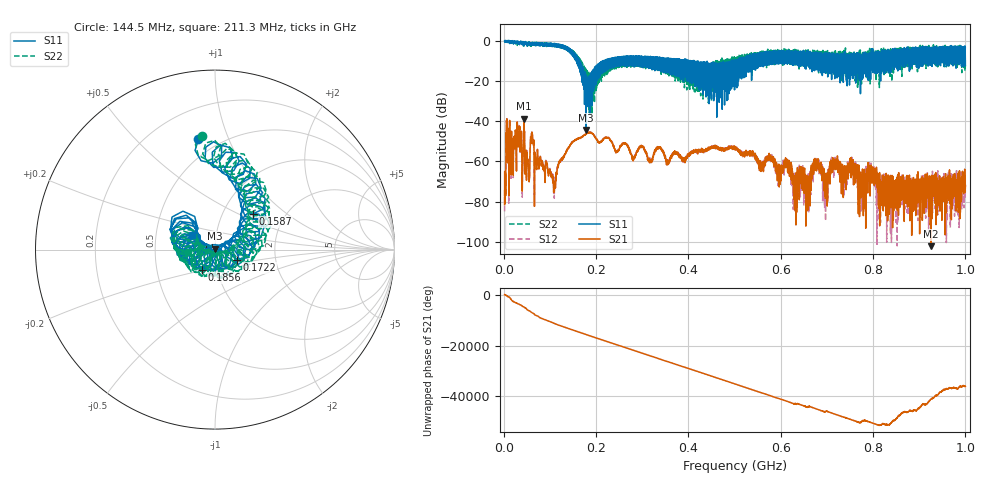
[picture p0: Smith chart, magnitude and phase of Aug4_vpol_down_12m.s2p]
!Keysight Technologies N9923A: A.12.45
!Date: Tuesday, 05 August 2025 20:34:01
!Timezone: (UTC+08:00) Kuala Lumpur, Singapore
!Model: N9923A
!Serial: MY61181427
!GPS Latitude:
!GPS Longitude:
!GPS TimeStamp: 0001-01-01 00:00:00Z
!GPS Seconds Since Last Read: 0
!CHECKSUM:2105733428
!Correction: S11(ON U)S21(ON U)S12(ON U)S22(ON U)
!S2P File: Measurements:S11,S21,S12,S22:
# Hz S DB R 50
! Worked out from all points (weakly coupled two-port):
!   4001 points, 2 MHz to 1 GHz, reference 50 ohm
!   highest |S21| = -38.69 dB at 43.92 MHz (marker M1); lowest = -102.2 dB at 925.6 MHz (marker M2)
!   lowest |S11| = -44.3 dB at 178.4 MHz (marker M3), VSWR 1.01, Z = 50 + j0.607 ohm
!   |S11| at or under -10 dB: 163 MHz to 215.5 MHz (52.57 MHz wide, 27.8 % of centre); 412.2 MHz to 420.5 MHz (8.269 MHz wide, 1.99 % of centre); 420.7 MHz to 494 MHz (73.34 MHz wide, 16 % of centre)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
!   |S22| runs from -36.7 to 0.1 dB; largest |S21 - S12| = 0.00096
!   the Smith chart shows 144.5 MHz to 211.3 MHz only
!   S11 on the Smith chart (normalised r, x): 144.5 MHz: 0.39, +0.78; 158.7 MHz: 1.38, +0.60; 172.2 MHz: 1.27, -0.15; 185.6 MHz: 0.84, -0.19; 211.3 MHz: 0.76, +0.13
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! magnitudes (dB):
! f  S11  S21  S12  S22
! 2 MHz  -0.1  -81.5  -84.9  -0.1
! 9.984 MHz  0.2  -52.2  -52.0  0.1
! 43.92 MHz  -1.4  -38.7  -38.6  -1.6
! 61.38 MHz  -2.3  -45.7  -45.7  -2.1
! 108.5 MHz  -2.5  -71.9  -73.6  -2.6
! 144.5 MHz  -4.1  -52.0  -51.7  -3.9
! 158.7 MHz  -10.7  -49.0  -49.1  -10.0
! 168.4 MHz  -17.7  -48.0  -47.8  -14.6
! 172.2 MHz  -17.3  -47.7  -47.5  -16.0
! 178.4 MHz  -44.3  -46.3  -46.3  -21.3
! 185.6 MHz  -17.4  -45.5  -45.5  -17.4
! 211.3 MHz  -16.3  -50.2  -50.1  -16.5
! 334.8 MHz  -8.3  -52.8  -52.8  -10.3
! 501 MHz  -9.7  -53.5  -53.5  -9.1
! 613 MHz  -6.8  -60.8  -63.4  -10.2
! 631.7 MHz  -5.5  -76.8  -71.5  -11.6
! 667.4 MHz  -6.0  -66.1  -68.6  -7.1
! 696.9 MHz  -16.1  -78.5  -84.8  -7.4
! 717.8 MHz  -6.8  -59.8  -58.0  -9.6
! 833.8 MHz  -6.6  -78.9  -76.9  -13.9
! 925.6 MHz  -8.1  -102.2  -82.8  -2.8
! 1 GHz  -12.4  -72.5  -71.5  -3.9
